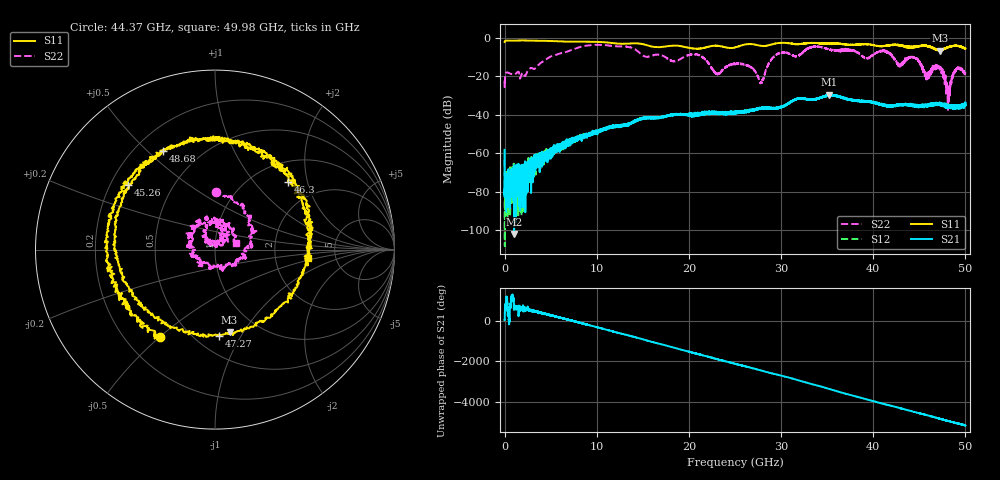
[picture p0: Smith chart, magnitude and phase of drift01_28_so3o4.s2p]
!Created with skrf (http://scikit-rf.org).
# Hz S RI R 50.0
!freq ReS11 ImS11 ReS21 ImS21 ReS12 ImS12 ReS22 ImS22
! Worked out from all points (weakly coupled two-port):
!   10001 points, 300 kHz to 50 GHz, reference 50 ohm
!   highest |S21| = -29.56 dB at 35.24 GHz (marker M1); lowest = -101.9 dB at 1.03 GHz (marker M2)
!   lowest |S11| = -6.6 dB at 47.21 GHz (marker M3), VSWR 2.75, Z = 37.1 - j43.5 ohm
!   |S11| at or under -10 dB: nowhere
!   |S22| runs from -37.4 to -3.6 dB; largest |S21 - S12| = 0.004
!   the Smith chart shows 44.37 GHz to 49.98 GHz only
!   S11 on the Smith chart (normalised r, x): 44.37 GHz: 0.34, -0.50; 45.26 GHz: 0.27, +0.31; 46.3 GHz: 1.41, +1.52; 47.27 GHz: 0.64, -0.81; 48.68 GHz: 0.31, +0.56; 49.98 GHz: 3.11, -0.41
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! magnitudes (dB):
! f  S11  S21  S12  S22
! 300 kHz  -2.1  -58.2  -63.1  -22.2
! 255.3 MHz  -1.4  -79.1  -92.4  -18.0
! 1.03 GHz  -1.5  -101.9  -72.7  -19.0
! 8.335 GHz  -2.0  -51.8  -51.8  -4.5
! 16.67 GHz  -4.8  -41.5  -41.6  -8.7
! 20.97 GHz  -5.7  -40.3  -39.5  -8.8
! 23.07 GHz  -4.1  -39.7  -39.5  -18.7
! 25 GHz  -5.0  -38.9  -38.7  -13.6
! 27.84 GHz  -4.2  -36.5  -36.4  -23.0
! 29.47 GHz  -2.9  -36.5  -36.6  -8.8
! 33.34 GHz  -2.6  -32.1  -32.0  -4.8
! 35.24 GHz  -3.0  -29.6  -29.8  -6.0
! 41.67 GHz  -3.9  -35.5  -35.7  -7.9
! 44.37 GHz  -4.8  -35.3  -35.6  -9.9
! 45.26 GHz  -4.4  -35.4  -35.4  -14.7
! 46.3 GHz  -5.1  -34.9  -34.4  -16.6
! 47.21 GHz  -6.6  -34.1  -34.7  -16.6
! 47.27 GHz  -6.3  -34.7  -34.3  -16.7
! 48.12 GHz  -4.9  -34.8  -35.0  -35.5
! 48.68 GHz  -4.1  -37.0  -36.3  -19.4
! 49.98 GHz  -5.7  -34.8  -34.5  -18.4
! 50 GHz  -5.6  -34.2  -35.4  -18.7
